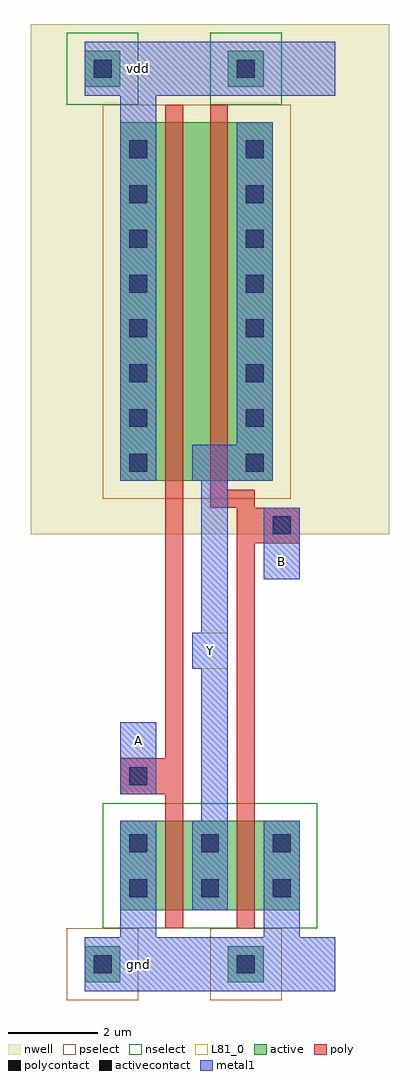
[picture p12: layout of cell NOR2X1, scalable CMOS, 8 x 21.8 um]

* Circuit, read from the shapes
.subckt NOR2X1 A B Y gnd vdd
M1 Y A gnd gnd nfet w=2u l=0.4u
M2 gnd B Y gnd nfet w=2u l=0.4u
M3 n1 A vdd vdd pfet w=8u l=0.4u
M4 Y B n1 vdd pfet w=8u l=0.4u
.ends

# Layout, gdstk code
import gdstk
lib = gdstk.Library(unit=1e-6, precision=1e-09)
def R(c, l, rs):  # rectangles x0, y0, x1, y1
    for r in rs: c.add(gdstk.rectangle(r[:2], r[2:], *l))
def A(c, l, x, y, w, h, nx, ny, dx, dy):  # array of equal rectangles
    R(c, l, [(x+i*dx, y+j*dy, x+i*dx+w, y+j*dy+h) for i in range(nx) for j in range(ny)])
nwell = (42, 0)
active = (43, 0)
pselect = (44, 0)
nselect = (45, 0)
poly = (46, 0)
polycontact = (47, 0)
activecontact = (48, 0)
metal1 = (49, 0)
L81_0 = (81, 0)

nor2x1 = lib.new_cell('NOR2X1')
R(nor2x1, nwell, [(-1.6,9.6,6.4,21)])
R(nor2x1, active, [(-0.4,-0.4,0.4,0.4), (2.8,-0.4,3.6,0.4), (0.4,1.2,4.4,3.2), (0.4,10.8,3.8,18.8), (-0.4,19.6,0.4,20.4), (2.8,19.6,3.6,20.4)])
R(nor2x1, pselect, [(-0.8,-0.8,0.8,0.8), (2.4,-0.8,4,0.8), (0,10.4,4.2,19.2)])
R(nor2x1, nselect, [(0,0.8,4.8,3.6), (-0.8,19.2,0.8,20.8), (2.4,19.2,4,20.8)])
R(nor2x1, poly, [(1.4,0.8,1.8,3.8), (3,0.8,3.4,9.4), (0.4,3.8,1.8,4.6), (1.4,4.6,1.8,19.2), (3,9.4,4.4,10.2), (2.4,10.2,3.4,10.6), (2.4,10.6,2.8,19.2)])
R(nor2x1, polycontact, [(0.6,4,1,4.4), (3.8,9.6,4.2,10)])
A(nor2x1, activecontact, 0.6, 1.5, 0.4, 0.4, 3, 2, 1.6, 1)
A(nor2x1, activecontact, 0.6, 11, 0.4, 0.4, 1, 8, 0, 1)
A(nor2x1, activecontact, 3.2, 11, 0.4, 0.4, 1, 8, 0, 1)
R(nor2x1, activecontact, [(-0.2,-0.2,0.2,0.2), (3,-0.2,3.4,0.2), (-0.2,19.8,0.2,20.2), (3,19.8,3.4,20.2)])
R(nor2x1, metal1, [(-0.4,-0.6,5.2,0.6), (0.4,0.6,1.2,3.2), (3.6,0.6,4.4,3.2), (2,1.2,2.8,3.2), (2.2,3.2,2.8,6.6), (0.4,3.8,1.2,5.4), (2,6.6,2.8,7.4), (2.2,7.4,2.8,10.8), (3.6,8.6,4.4,10.2), (0.4,10.8,1.2,19.4), (2,10.8,3.8,11.6), (3,11.6,3.8,18.8), (-0.4,19.4,5.2,20.6)])
R(nor2x1, L81_0, [(0.4,4.6,1.2,5.4), (2,6.6,2.8,7.4), (3.6,8.6,4.4,9.4)])
nor2x1.add(gdstk.Label('vdd', (0.8,20), layer=109, texttype=0))
nor2x1.add(gdstk.Label('B', (4,9), layer=109, texttype=0))
nor2x1.add(gdstk.Label('gnd', (0.8,0), layer=109, texttype=0))
nor2x1.add(gdstk.Label('Y', (2.4,7), layer=109, texttype=0))
nor2x1.add(gdstk.Label('A', (0.8,5), layer=109, texttype=0))

lib.write_gds('NOR2X1.gds')
